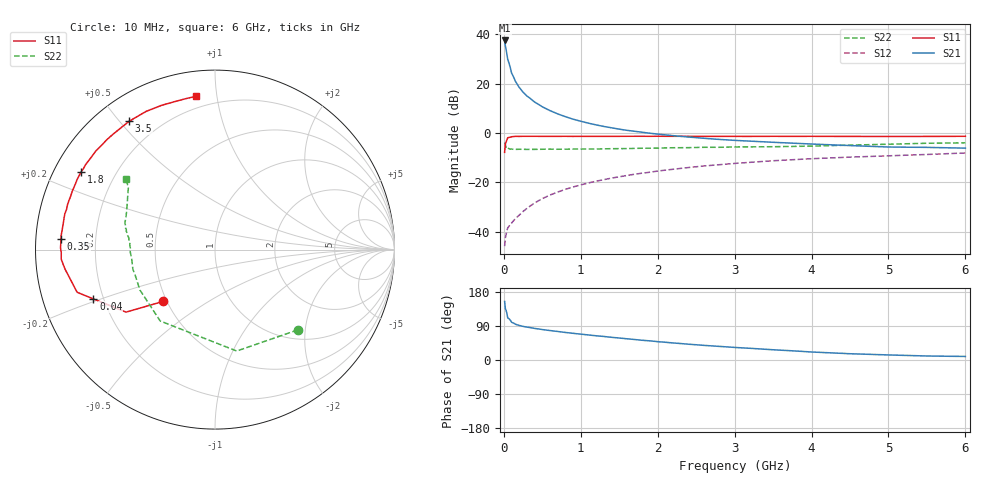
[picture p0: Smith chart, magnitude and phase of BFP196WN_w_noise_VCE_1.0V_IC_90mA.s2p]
! Infineon Technologies  Discrete & RF Semiconductors
! BFP196WN
! VCE =  1.0 V,  IC =  90 mA
! Common Emitter S-Parameters:  Jan 2017
# GHz  S  MA  R  50
!  f  S11  S21  S12  S22
! GHz  MAG  ANG  MAG  ANG  MAG  ANG  MAG  ANG
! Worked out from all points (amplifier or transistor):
!   77 points, 10 MHz to 6 GHz, reference 50 ohm
!   highest |S21| = 37.6 dB at 10 MHz (marker M1)
!   |S21| within 3 dB of that: start of sweep to 24.96 MHz
!   unconditionally stable (mu >= 1): 269.9 MHz to end of sweep
!   at 130 MHz: K = 0.80, MSG = 28.9 dB, |S12| = -35.4 dB
!   at 2.2 GHz: K = 1.06, MAG = 5.3 dB, |S12| = -14.7 dB
!   at 6 GHz: K = 1.00, MAG = 0.9 dB, |S12| = -8.1 dB
!   lowest NFmin = 1.69 dB at 450 MHz
!   S11 on the Smith chart (normalised r, x): 10 MHz: 0.48, -0.33; 40 MHz: 0.16, -0.19; 350 MHz: 0.08, +0.03; 1.8 GHz: 0.08, +0.27; 3.5 GHz: 0.10, +0.53; 6 GHz: 0.13, +0.88
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0.01  0.4068 -134.9  75.45 154.5  0.0051 65.3  0.6423 -44.2
0.02  0.6058 -144.9  58.48 135.6  0.0075 50.4  0.5779 -77.9
0.04  0.7308 -157.9  39.51 123.0  0.0104 42.5  0.482 -109.8
0.05  0.804 -162.8  31.38 111.3  0.0119 40.0  0.5014 -127.5
0.1  0.8426 -172.6  16.56 99.6  0.0149 49.6  0.4751 -151.7
0.15  0.8584 -176.4  11.23 94.4  0.0184 54.6  0.4671 -161.6
0.2  0.8567 -179.0  8.44 91.2  0.0217 60.4  0.4702 -166.4
0.25  0.8609 179.3  6.76 88.7  0.0258 63.4  0.4686 -169.4
0.3  0.8597 177.6  5.652 86.8  0.0297 64.2  0.4668 -171.9
0.35  0.8601 176.2  4.951 85.3  0.0339 67.1  0.467 -173.3
0.4  0.861 174.9  4.254 83.3  0.0382 69.3  0.4675 -174.7
0.5  0.8586 172.6  3.41 80.4  0.0469 70.2  0.4703 -176.9
0.6  0.8578 170.4  2.854 77.7  0.0555 70.6  0.4726 -178.7
0.8  0.8601 166.7  2.152 72.7  0.0724 71.1  0.4715 178.9
1.1  0.8583 161.4  1.588 66.1  0.0976 69.8  0.4756 175.8
1.8  0.8623 149.8  1.039 52.0  0.1541 64.3  0.4933 170.7
2.1  0.8611 145.1  0.92 46.8  0.1773 61.5  0.5006 168.9
3.1  0.8572 129.8  0.699 32.0  0.2488 51.6  0.5245 162.7
3.5  0.8603 123.8  0.651 27.0  0.2749 47.8  0.5293 159.3
4.1  0.8589 115.3  0.591 20.2  0.3068 42.0  0.5494 153.0
5.1  0.8544 104.6  0.52 12.8  0.3504 33.8  0.6002 143.8
6  0.8612 97.0  0.495 9.3  0.3951 27.7  0.6345 141.6
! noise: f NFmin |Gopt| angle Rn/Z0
0.45  1.69  0.59  -175  0.05
0.9  1.82  0.6  -168  0.07
1.9  2.82  0.71  -146  0.23
2.4  3.6  0.72  -138  0.39
